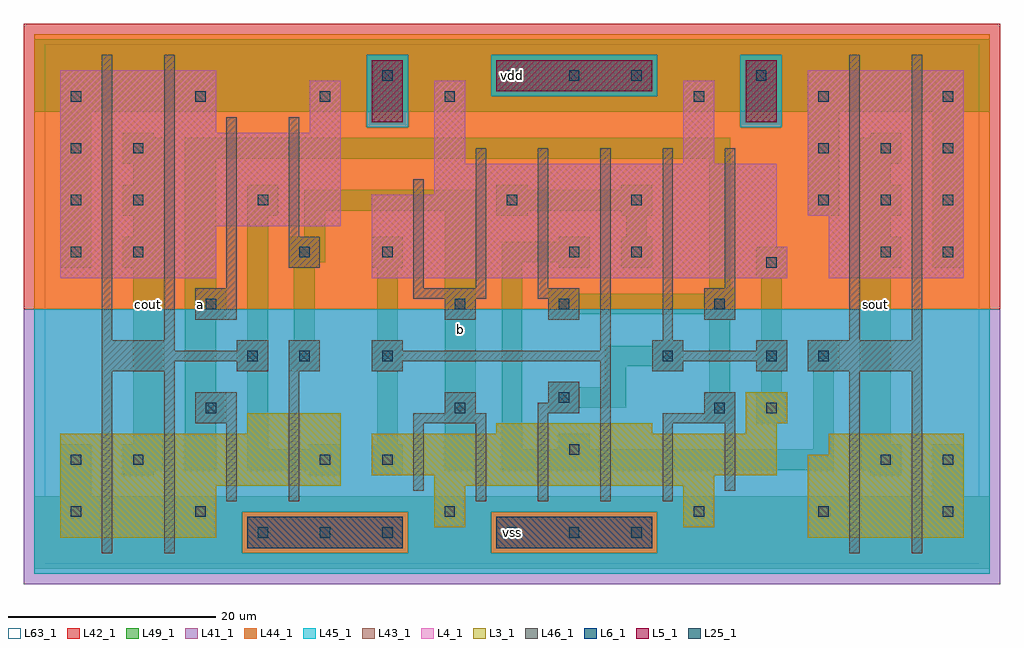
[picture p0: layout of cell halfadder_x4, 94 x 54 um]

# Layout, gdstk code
import gdstk
lib = gdstk.Library(unit=1e-6, precision=1e-09)
def R(c, l, rs):  # rectangles x0, y0, x1, y1
    for r in rs: c.add(gdstk.rectangle(r[:2], r[2:], *l))
def A(c, l, x, y, w, h, nx, ny, dx, dy):  # array of equal rectangles
    R(c, l, [(x+i*dx, y+j*dy, x+i*dx+w, y+j*dy+h) for i in range(nx) for j in range(ny)])
L3_1 = (3, 1)
L4_1 = (4, 1)
L5_1 = (5, 1)
L6_1 = (6, 1)
L25_1 = (25, 1)
L41_1 = (41, 1)
L42_1 = (42, 1)
L43_1 = (43, 1)
L44_1 = (44, 1)
L45_1 = (45, 1)
L46_1 = (46, 1)
L49_1 = (49, 1)
L63_1 = (63, 1)

halfadder_x4 = lib.new_cell('halfadder_x4')
R(halfadder_x4, L3_1, [(1.5,2.5,16.5,7.5), (73.5,2.5,88.5,10.5), (37.5,3.5,40.5,7.5), (61.5,3.5,64.5,7.5), (1.5,7.5,28.5,12.5), (37.5,7.5,64.5,8.5), (31.5,8.5,70.5,12.5), (75.5,10.5,88.5,12.5), (19.5,12.5,28.5,14.5), (43.5,12.5,58.5,13.5), (67.5,12.5,70.5,13.5), (67.5,13.5,71.5,16.5)])
R(halfadder_x4, L4_1, [(1.5,27.5,16.5,32.5), (31.5,27.5,71.5,30.5), (75.5,27.5,88.5,33.5), (31.5,30.5,70.5,35.5), (1.5,32.5,28.5,41.5), (73.5,33.5,88.5,47.5), (37.5,35.5,70.5,38.5), (37.5,38.5,40.5,46.5), (61.5,38.5,64.5,46.5), (1.5,41.5,16.5,47.5), (25.5,41.5,28.5,46.5)])
R(halfadder_x4, L5_1, [(31.5,42.5,34.5,48.5), (67.5,42.5,70.5,48.5), (43.5,45.5,58.5,48.5)])
R(halfadder_x4, L6_1, [(19.5,1.5,34.5,4.5), (43.5,1.5,58.5,4.5)])
A(halfadder_x4, L25_1, 20.5, 2.5, 1, 1, 3, 1, 6, 0)
A(halfadder_x4, L25_1, 44.5, 2.5, 1, 1, 3, 2, 6, 44)
A(halfadder_x4, L25_1, 14.5, 4.5, 1, 1, 3, 1, 24, 0)
A(halfadder_x4, L25_1, 32.5, 9.5, 1, 1, 1, 3, 0, 10)
A(halfadder_x4, L25_1, 2.5, 29.5, 1, 1, 1, 3, 0, 5)
A(halfadder_x4, L25_1, 8.5, 29.5, 1, 1, 1, 3, 0, 5)
A(halfadder_x4, L25_1, 74.5, 34.5, 1, 1, 3, 2, 6, 5)
A(halfadder_x4, L25_1, 2.5, 44.5, 1, 1, 4, 1, 12, 0)
A(halfadder_x4, L25_1, 62.5, 44.5, 1, 1, 3, 1, 12, 0)
R(halfadder_x4, L25_1, [(2.5,4.5,3.5,5.5), (74.5,4.5,75.5,5.5), (86.5,4.5,87.5,5.5), (2.5,9.5,3.5,10.5), (8.5,9.5,9.5,10.5), (26.5,9.5,27.5,10.5), (80.5,9.5,81.5,10.5), (86.5,9.5,87.5,10.5), (50.5,10.5,51.5,11.5), (15.5,14.5,16.5,15.5), (39.5,14.5,40.5,15.5), (64.5,14.5,65.5,15.5), (69.5,14.5,70.5,15.5), (49.5,15.5,50.5,16.5), (19.5,19.5,20.5,20.5), (24.5,19.5,25.5,20.5), (59.5,19.5,60.5,20.5), (69.5,19.5,70.5,20.5), (74.5,19.5,75.5,20.5), (15.5,24.5,16.5,25.5), (39.5,24.5,40.5,25.5), (49.5,24.5,50.5,25.5), (64.5,24.5,65.5,25.5), (69.5,28.5,70.5,29.5), (24.5,29.5,25.5,30.5), (50.5,29.5,51.5,30.5), (56.5,29.5,57.5,30.5), (80.5,29.5,81.5,30.5), (86.5,29.5,87.5,30.5), (20.5,34.5,21.5,35.5), (44.5,34.5,45.5,35.5), (56.5,34.5,57.5,35.5), (32.5,46.5,33.5,47.5), (68.5,46.5,69.5,47.5)])
R(halfadder_x4, L41_1, [(-2,-2,92,24.5)])
R(halfadder_x4, L42_1, [(-2,24.5,92,52)])
R(halfadder_x4, L43_1, [(19.5,1.5,34.5,4.5), (43.5,1.5,58.5,4.5), (1.5,2.5,16.5,7.5), (73.5,2.5,88.5,10.5), (37.5,3.5,40.5,7.5), (61.5,3.5,64.5,7.5), (1.5,7.5,28.5,12.5), (37.5,7.5,64.5,8.5), (31.5,8.5,70.5,12.5), (75.5,10.5,88.5,12.5), (19.5,12.5,28.5,14.5), (43.5,12.5,58.5,13.5), (67.5,12.5,70.5,13.5), (67.5,13.5,71.5,16.5), (1.5,27.5,16.5,32.5), (31.5,27.5,71.5,30.5), (75.5,27.5,88.5,33.5), (31.5,30.5,70.5,35.5), (1.5,32.5,28.5,41.5), (73.5,33.5,88.5,47.5), (37.5,35.5,70.5,38.5), (37.5,38.5,40.5,46.5), (61.5,38.5,64.5,46.5), (1.5,41.5,16.5,47.5), (25.5,41.5,28.5,46.5), (31.5,42.5,34.5,48.5), (67.5,42.5,70.5,48.5), (43.5,45.5,58.5,48.5)])
R(halfadder_x4, L44_1, [(19,1,35,5), (43,1,59,5), (-1,24.5,91,42), (-1,42,31,49), (35,42,67,45), (71,42,91,49), (35,45,43,49), (59,45,67,49), (-1,49,91,51)])
R(halfadder_x4, L45_1, [(-1,-1,91,1), (-1,1,19,5), (35,1,43,5), (59,1,91,5), (-1,5,91,24.5), (31,42,35,49), (67,42,71,49), (43,45,59,49)])
R(halfadder_x4, L46_1, [(5.5,1,6.5,18.5), (11.5,1,12.5,18.5), (77.5,1,78.5,18.5), (83.5,1,84.5,18.5), (17.5,6,18.5,13.5), (23.5,6,24.5,18.5), (41.5,6,42.5,13.5), (47.5,6,48.5,14.5), (53.5,6,54.5,19.5), (59.5,6,60.5,13.5), (35.5,7,36.5,13.5), (65.5,7,66.5,13.5), (14.5,13.5,18.5,16.5), (35.5,13.5,42.5,14.5), (59.5,13.5,66.5,14.5), (38.5,14.5,41.5,16.5), (47.5,14.5,51.5,15.5), (63.5,14.5,66.5,16.5), (48.5,15.5,51.5,17.5), (5.5,18.5,12.5,19.5), (18.5,18.5,21.5,19.5), (23.5,18.5,26.5,21.5), (31.5,18.5,34.5,19.5), (58.5,18.5,61.5,19.5), (68.5,18.5,71.5,19.5), (73.5,18.5,84.5,21.5), (5.5,19.5,21.5,20.5), (31.5,19.5,54.5,20.5), (58.5,19.5,71.5,20.5), (5.5,20.5,12.5,21.5), (18.5,20.5,21.5,21.5), (31.5,20.5,34.5,21.5), (53.5,20.5,54.5,40), (58.5,20.5,61.5,21.5), (68.5,20.5,71.5,21.5), (5.5,21.5,6.5,49), (11.5,21.5,12.5,49), (59.5,21.5,60.5,40), (77.5,21.5,78.5,49), (83.5,21.5,84.5,49), (14.5,23.5,18.5,26.5), (38.5,23.5,41.5,25.5), (48.5,23.5,51.5,25.5), (63.5,23.5,66.5,26.5), (35.5,25.5,42.5,26.5), (47.5,25.5,51.5,26.5), (17.5,26.5,18.5,43), (35.5,26.5,36.5,37), (41.5,26.5,42.5,40), (47.5,26.5,48.5,40), (65.5,26.5,66.5,40), (23.5,28.5,26.5,31.5), (23.5,31.5,24.5,43)])
A(halfadder_x4, L49_1, 31.5, 8.5, 3, 3, 1, 3, 0, 10)
R(halfadder_x4, L49_1, [(-1,-0.5,91,6.5), (1.5,6.5,4.5,11.5), (85.5,6.5,88.5,11.5), (7.5,8.5,10.5,9), (25.5,8.5,28.5,9), (79.5,8.5,82.5,9), (7.5,9,11.5,11.5), (13.5,9,16.5,13.5), (19.5,9,28.5,11), (38.5,9,41.5,34), (44,9,76,11), (78.5,9,82.5,11.5), (19.5,11,21.5,18.5), (25.5,11,28.5,11.5), (44,11,46,29), (49.5,11,52.5,12.5), (74,11,76,18.5), (8.5,11.5,11.5,28.5), (32,11.5,34,18.5), (78.5,11.5,81.5,28.5), (13.5,13.5,17.5,16.5), (63.5,13.5,66.5,16.5), (68.5,13.5,71.5,16.5), (48.5,14.5,51.5,15), (48.5,15,56,17), (13.5,16.5,16.5,23.5), (64,16.5,66,23.5), (69,16.5,71,18.5), (48.5,17,51.5,17.5), (54,17,56,19), (18.5,18.5,21.5,21.5), (23.5,18.5,26.5,21.5), (58.5,18.5,61.5,19), (68.5,18.5,71.5,21.5), (73.5,18.5,76.5,21.5), (54,19,61.5,21), (58.5,21,61.5,21.5), (19.5,21.5,21.5,33.5), (24,21.5,26,28.5), (32,21.5,34,28.5), (69,21.5,71,27.5), (13.5,23.5,17.5,26.5), (48.5,23.5,51.5,24), (63.5,23.5,66.5,24), (48.5,24,66.5,26), (48.5,26,51.5,26.5), (63.5,26,66.5,26.5), (13.5,26.5,16.5,39), (64,26.5,66,39), (68.5,27.5,71.5,30.5), (1.5,28.5,4.5,43.5), (7.5,28.5,11.5,31.5), (23.5,28.5,26.5,29), (49.5,28.5,52.5,29), (55.5,28.5,58.5,31.5), (78.5,28.5,82.5,31.5), (85.5,28.5,88.5,43.5), (23.5,29,27,31.5), (44,29,52.5,31), (49.5,31,52.5,31.5), (8.5,31.5,11.5,33.5), (25,31.5,27,34), (56,31.5,58,33.5), (78.5,31.5,81.5,33.5), (7.5,33.5,11.5,36.5), (19.5,33.5,22.5,36.5), (43.5,33.5,46.5,34), (55.5,33.5,58.5,34), (73.5,33.5,76.5,43.5), (78.5,33.5,82.5,36.5), (25,34,41.5,36), (43.5,34,58.5,36), (43.5,36,46.5,36.5), (55.5,36,58.5,36.5), (8.5,36.5,11.5,38.5), (78.5,36.5,81.5,38.5), (7.5,38.5,11.5,41), (78.5,38.5,82.5,41), (13.5,39,66,41), (7.5,41,10.5,41.5), (79.5,41,82.5,41.5), (-1,43.5,91,50.5)])
R(halfadder_x4, L63_1, [(0,0,90,50)])
halfadder_x4.add(gdstk.Label('a', (15,25), layer=49, texttype=1))
halfadder_x4.add(gdstk.Label('cout', (10,25), layer=49, texttype=1))
halfadder_x4.add(gdstk.Label('a', (15,25), layer=49, texttype=1))
halfadder_x4.add(gdstk.Label('cout', (10,25), layer=49, texttype=1))
halfadder_x4.add(gdstk.Label('vss', (45,3), layer=49, texttype=1))
halfadder_x4.add(gdstk.Label('vss', (45,3), layer=49, texttype=1))
halfadder_x4.add(gdstk.Label('b', (40,22.5), layer=49, texttype=1))
halfadder_x4.add(gdstk.Label('b', (40,22.5), layer=49, texttype=1))
halfadder_x4.add(gdstk.Label('vdd', (45,47), layer=49, texttype=1))
halfadder_x4.add(gdstk.Label('vdd', (45,47), layer=49, texttype=1))
halfadder_x4.add(gdstk.Label('sout', (80,25), layer=49, texttype=1))
halfadder_x4.add(gdstk.Label('sout', (80,25), layer=49, texttype=1))

lib.write_gds('halfadder_x4.gds')
